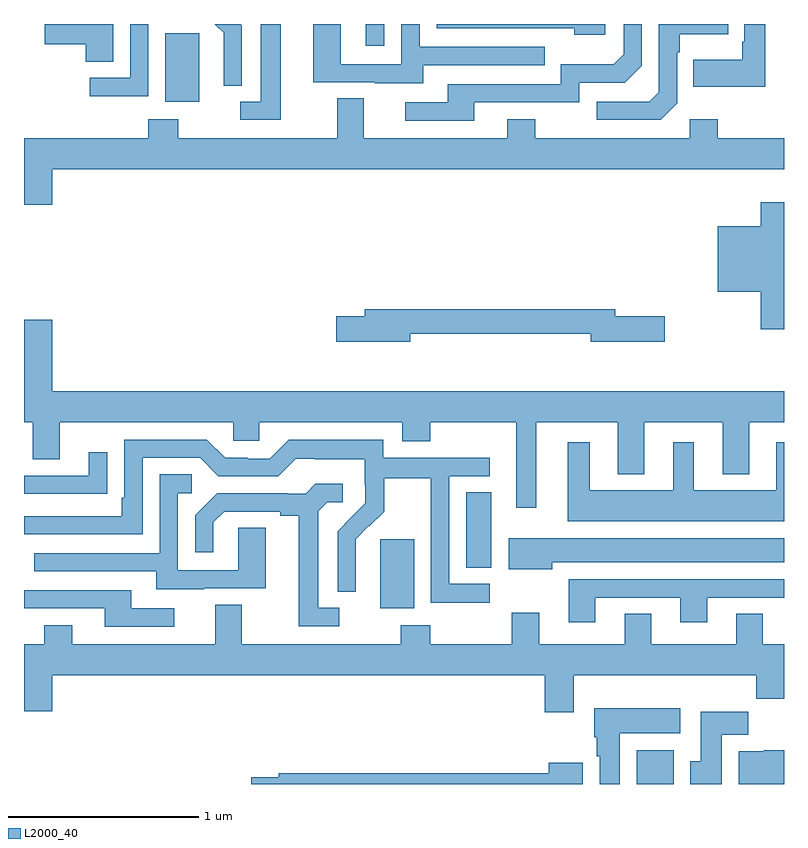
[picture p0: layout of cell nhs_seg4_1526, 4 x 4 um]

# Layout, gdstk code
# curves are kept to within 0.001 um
import gdstk
lib = gdstk.Library(unit=1e-6, precision=1e-09)
def R(c, l, rs):  # rectangles x0, y0, x1, y1
    for r in rs: c.add(gdstk.rectangle(r[:2], r[2:], *l))
def P(c, l, *ps):  # polygons
    for p in ps: c.add(gdstk.Polygon(p, *l))
L2000_40 = (2000, 40)

nhs_seg4_1526 = lib.new_cell('nhs_seg4_1526')
R(nhs_seg4_1526, L2000_40, [(192.224,810.9,192.421,811.078), (190.874,811.826,191.053,812.187), (191.327,812.038,191.458,812.435), (189.743,814.49,189.922,814.851), (190.799,814.785,190.896,814.9)])
P(nhs_seg4_1526, L2000_40, [(192.901,814.9),(192.792,814.9),(192.792,814.807),(192.78,814.807),(192.78,814.711),(192.523,814.711),(192.523,814.571),(192.901,814.571)],
  [(189.654,814.9),(189.558,814.9),(189.558,814.617),(189.345,814.617),(189.345,814.519),(189.654,814.519)],
  [(189.469,814.9),(189.108,814.9),(189.108,814.793),(189.326,814.793),(189.326,814.702),(189.469,814.702)],
  [(191.101,814.683),(191.741,814.683),(191.741,814.779),(191.082,814.779),(191.082,814.9),(190.986,814.9),(190.986,814.689),(190.668,814.689),(190.668,814.9),(190.523,814.9),(190.523,814.593),(190.847,814.593),(190.847,814.589),(191.101,814.589)],
  [(190.146,814.894),(190.14,814.9),(190.004,814.9),(190.052,814.853),(190.052,814.73),(190.05,814.73),(190.05,814.576),(190.146,814.576)],
  [(192.438,814.482),(192.438,814.751),(192.451,814.751),(192.451,814.847),(192.707,814.847),(192.707,814.9),(192.342,814.9),(192.342,814.542),(192.291,814.491),(192.015,814.491),(192.015,814.395),(192.351,814.395)],
  [(190.351,814.9),(190.247,814.9),(190.247,814.491),(190.137,814.491),(190.137,814.395),(190.351,814.395)],
  [(192.058,814.9),(191.172,814.9),(191.172,814.878),(191.897,814.878),(191.897,814.844),(192.058,814.844)],
  [(191.371,814.488),(191.922,814.488),(191.922,814.59),(192.162,814.59),(192.252,814.68),(192.252,814.9),(192.156,814.9),(192.156,814.74),(192.103,814.687),(191.826,814.687),(191.826,814.584),(191.231,814.584),(191.231,814.488),(191.007,814.488),(191.007,814.392),(191.371,814.392)],
  [(193,814.3),(192.651,814.3),(192.651,814.399),(192.504,814.399),(192.504,814.3),(191.691,814.3),(191.691,814.399),(191.543,814.399),(191.543,814.3),(190.789,814.3),(190.789,814.508),(190.649,814.508),(190.649,814.3),(189.813,814.3),(189.813,814.399),(189.653,814.399),(189.653,814.3),(189,814.3),(189,813.948),(189.148,813.948),(189.148,814.136),(193,814.136)],
  [(193,813.961),(192.878,813.961),(192.878,813.835),(192.65,813.835),(192.65,813.491),(192.878,813.491),(192.878,813.294),(193,813.294)],
  [(191.032,813.27),(191.984,813.27),(191.984,813.227),(192.373,813.227),(192.373,813.362),(192.112,813.362),(192.112,813.398),(190.793,813.398),(190.793,813.362),(190.644,813.362),(190.644,813.227),(191.032,813.227)],
  [(189.148,813.343),(189,813.343),(189,812.804),(189.047,812.804),(189.047,812.61),(189.187,812.61),(189.187,812.804),(190.101,812.804),(190.101,812.706),(190.239,812.706),(190.239,812.804),(190.991,812.804),(190.991,812.705),(191.139,812.705),(191.139,812.804),(191.591,812.804),(191.591,812.355),(191.695,812.355),(191.695,812.804),(192.125,812.804),(192.125,812.531),(192.265,812.531),(192.265,812.804),(192.677,812.804),(192.677,812.531),(192.817,812.531),(192.817,812.804),(193,812.804),(193,812.968),(189.148,812.968)],
  [(191.452,811.953),(191.238,811.953),(191.238,812.52),(191.452,812.52),(191.452,812.616),(190.89,812.616),(190.89,812.713),(190.393,812.713),(190.293,812.613),(190.178,812.613),(190.178,812.616),(190.059,812.616),(189.963,812.712),(189.528,812.712),(189.528,812.407),(189.515,812.407),(189.515,812.31),(189,812.31),(189,812.214),(189.624,812.214),(189.624,812.616),(189.927,812.616),(190.023,812.52),(190.338,812.52),(190.431,812.613),(190.531,812.613),(190.531,812.609),(190.794,812.609),(190.794,812.475),(190.796,812.475),(190.796,812.378),(190.65,812.23),(190.65,811.912),(190.746,811.912),(190.745,812.189),(190.815,812.259),(190.818,812.256),(190.895,812.333),(190.895,812.508),(191.14,812.508),(191.14,812.284),(191.142,812.284),(191.142,811.855),(191.452,811.855)],
  [(193,812.698),(192.959,812.698),(192.959,812.446),(192.526,812.446),(192.526,812.698),(192.416,812.698),(192.416,812.446),(191.977,812.446),(191.977,812.698),(191.861,812.698),(191.861,812.282),(193,812.282)],
  [(189.335,812.428),(189.437,812.428),(189.437,812.647),(189.341,812.647),(189.341,812.523),(189,812.523),(189,812.427),(189.335,812.427)],
  [(189.949,811.929),(190.273,811.929),(190.273,812.249),(190.128,812.249),(190.128,812.025),(189.81,812.025),(189.81,812.43),(189.883,812.43),(189.883,812.531),(189.714,812.531),(189.714,812.115),(189.055,812.115),(189.055,812.019),(189.695,812.019),(189.695,811.925),(189.949,811.925)],
  [(190.66,811.827),(190.549,811.827),(190.549,812.335),(190.596,812.382),(190.678,812.382),(190.678,812.479),(190.534,812.479),(190.482,812.427),(190.388,812.427),(190.388,812.43),(190.016,812.43),(189.9,812.314),(189.9,812.121),(189.997,812.121),(189.997,812.277),(190.054,812.334),(190.349,812.334),(190.349,812.312),(190.445,812.312),(190.445,811.731),(190.66,811.731)],
  [(191.779,812.066),(193,812.066),(193,812.194),(191.55,812.194),(191.55,812.03),(191.779,812.03)],
  [(192.007,811.881),(192.455,811.881),(192.455,811.752),(192.595,811.752),(192.595,811.881),(193,811.881),(193,811.977),(191.867,811.977),(191.867,811.752),(192.007,811.752)],
  [(189.79,811.824),(189.565,811.824),(189.565,811.92),(189,811.92),(189,811.824),(189.425,811.824),(189.425,811.728),(189.79,811.728)],
  [(192.853,811.348),(193,811.348),(193,811.636),(192.889,811.636),(192.889,811.796),(192.749,811.796),(192.749,811.636),(192.301,811.636),(192.301,811.796),(192.161,811.796),(192.161,811.636),(191.713,811.636),(191.713,811.801),(191.566,811.801),(191.566,811.636),(191.139,811.636),(191.139,811.735),(190.984,811.735),(190.984,811.636),(190.147,811.636),(190.147,811.844),(190.007,811.844),(190.007,811.636),(189.253,811.636),(189.253,811.735),(189.106,811.735),(189.106,811.636),(189,811.636),(189,811.284),(189.148,811.284),(189.148,811.472),(191.741,811.472),(191.741,811.278),(191.893,811.278),(191.893,811.472),(192.853,811.472)],
  [(192.136,811.166),(192.454,811.166),(192.454,811.3),(192.002,811.3),(192.002,811.146),(192.014,811.146),(192.014,811.046),(192.029,811.046),(192.029,810.9),(192.136,810.9)],
  [(192.673,811.16),(192.812,811.16),(192.812,811.279),(192.563,811.279),(192.563,811.02),(192.506,811.02),(192.506,810.9),(192.673,810.9)],
  [(193,811.078),(192.894,811.078),(192.894,811.072),(192.761,811.072),(192.761,810.9),(193,810.9)],
  [(191.941,811.012),(191.762,811.012),(191.762,810.956),(190.342,810.956),(190.342,810.936),(190.196,810.936),(190.196,810.9),(191.941,810.9)])

lib.write_gds('nhs_seg4_1526.gds')
